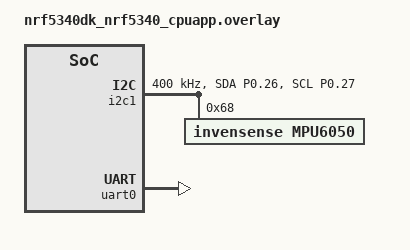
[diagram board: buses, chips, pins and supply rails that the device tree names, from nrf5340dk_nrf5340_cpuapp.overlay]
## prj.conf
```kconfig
# ==========================
# Core System Configuration
# ==========================
CONFIG_MAIN_STACK_SIZE=4096
CONFIG_HEAP_MEM_POOL_SIZE=4096
CONFIG_SYSTEM_WORKQUEUE_STACK_SIZE=2048
CONFIG_ASSERT=n

# ==========================
# System Clock (1 kHz tick rate for precise timing)
# ==========================
CONFIG_SYS_CLOCK_TICKS_PER_SEC=1000

# ==========================
# Power Management (Coin Cell Optimization)
# ==========================
CONFIG_PM=y
CONFIG_PM_DEVICE=y
CONFIG_PM_DEVICE_RUNTIME=y

# ==========================
# CPU Clock (64 MHz for power saving)
# ==========================
CONFIG_CLOCK_CONTROL=y
CONFIG_SOC_HFXO_CAP_INTERNAL=y

# ==========================
# Logging (ENABLED for debugging)
# ==========================
CONFIG_LOG=y
# CONFIG_LOG_MODE_IMMEDIATE is not set
# CONFIG_LOG_DEFAULT_LEVEL is not set

# ==========================
# Bluetooth Core
# ==========================
CONFIG_BT=y
CONFIG_BT_PERIPHERAL=y
CONFIG_BT_DEVICE_NAME="ISRO_AccelSensor"
CONFIG_BT_MAX_CONN=1
CONFIG_BT_DEVICE_APPEARANCE=0

# ==========================
# GATT Configuration
# ==========================
CONFIG_BT_GATT_DYNAMIC_DB=y
CONFIG_BT_ATT_PREPARE_COUNT=5
CONFIG_BT_GATT_NOTIFY_MULTIPLE=y

# ==========================
# BLE MTU and Buffer Sizes (for 1 kHz streaming)
# ==========================
# Batch packet = 1 + (17 * 14) = 239 bytes per 17ms
# ~59 packets/sec = ~113 kbps payload
CONFIG_BT_L2CAP_TX_MTU=247
CONFIG_BT_BUF_ACL_TX_SIZE=251
CONFIG_BT_BUF_ACL_RX_SIZE=251
CONFIG_BT_ATT_TX_COUNT=5
CONFIG_BT_L2CAP_TX_BUF_COUNT=5
CONFIG_BT_CONN_TX_MAX=5

# ==========================
# BLE Connection Parameters (Low Latency for 1 kHz)
# ==========================
# CI = 7.5-15 ms for real-time streaming
CONFIG_BT_GAP_AUTO_UPDATE_CONN_PARAMS=y
CONFIG_BT_PERIPHERAL_PREF_MIN_INT=6
CONFIG_BT_PERIPHERAL_PREF_MAX_INT=12
CONFIG_BT_PERIPHERAL_PREF_LATENCY=0
CONFIG_BT_PERIPHERAL_PREF_TIMEOUT=400

# ==========================
# BLE PHY and Data Length (2 Mbps for high throughput)
# ==========================
CONFIG_BT_USER_PHY_UPDATE=y
CONFIG_BT_USER_DATA_LEN_UPDATE=y
CONFIG_BT_CTLR_PHY_2M=y
CONFIG_BT_CTLR_DATA_LENGTH_MAX=251

# ==========================
# Settings (Persistent Storage)
# ==========================
CONFIG_SETTINGS=y
CONFIG_BT_SETTINGS=y
CONFIG_FLASH=y
CONFIG_FLASH_PAGE_LAYOUT=y
CONFIG_FLASH_MAP=y
CONFIG_NVS=y

# ==========================
# DK LEDs and Buttons (ENABLED for debugging)
# ==========================
CONFIG_DK_LIBRARY=n

# ==========================
# Console (ENABLED for debugging)
# ==========================
CONFIG_CONSOLE=y
CONFIG_UART_CONSOLE=y
CONFIG_SERIAL=y

# ==========================
# Float Support
# ==========================
CONFIG_FPU=y
CONFIG_NEWLIB_LIBC=y

# ==========================
# I2C and Sensor Drivers
# ==========================
CONFIG_I2C=y
CONFIG_SENSOR=y
CONFIG_MPU6050=y
CONFIG_MPU6050_TRIGGER_NONE=y

# ==========================
# System Workqueue Priority (for BLE)
# ==========================
CONFIG_SYSTEM_WORKQUEUE_PRIORITY=-1

# Disable all LEDs for power optimization
CONFIG_GPIO=n

# Disable UART logging for debugging
CONFIG_LOG=n
CONFIG_UART_CONSOLE=n
```

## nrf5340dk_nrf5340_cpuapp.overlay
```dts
/* nRF5340DK overlay for MPU6050 accelerometer */
/* Power-optimized configuration for coin cell operation */

/* Define pin control for I2C1 */
&pinctrl {
    i2c1_default: i2c1_default {
        group1 {
            psels = <NRF_PSEL(TWIM_SDA, 0, 26)>,
                    <NRF_PSEL(TWIM_SCL, 0, 27)>;
        };
    };

    i2c1_sleep: i2c1_sleep {
        group1 {
            psels = <NRF_PSEL(TWIM_SDA, 0, 26)>,
                    <NRF_PSEL(TWIM_SCL, 0, 27)>;
            low-power-enable;
        };
    };
};

/* Enable I2C1 with MPU6050 */
&i2c1 {
    compatible = "nordic,nrf-twim";
    status = "okay";
    clock-frequency = <I2C_BITRATE_FAST>;
    pinctrl-0 = <&i2c1_default>;
    pinctrl-1 = <&i2c1_sleep>;
    pinctrl-names = "default", "sleep";
    zephyr,pm-device-runtime-auto;

    mpu6050: mpu6050@68 {
        compatible = "invensense,mpu6050";
        reg = <0x68>;
        status = "okay";
    };
};

/* ================================== */
/* Peripheral configuration */
/* ================================== */

/* UART0 enabled for debugging */
&uart0 {
    status = "okay";
};

/* Disable SPI if not used */
&spi0 {
    status = "disabled";
};

&spi1 {
    status = "disabled";
};

&spi2 {
    status = "disabled";
};

&spi3 {
    status = "disabled";
};

/* Disable unused I2C */
&i2c0 {
    status = "disabled";
};

/* Disable PWM if not used */
&pwm0 {
    status = "disabled";
};

/* Disable ADC if not used */
&adc {
    status = "disabled";
};

/* Disable watchdog if not needed */
&wdt0 {
    status = "disabled";
};
```

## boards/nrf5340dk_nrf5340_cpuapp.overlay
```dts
/* nRF5340DK overlay for MPU6050 accelerometer */

/* Define pin control for I2C1 */
&pinctrl {
    i2c1_default: i2c1_default {
        group1 {
            psels = <NRF_PSEL(TWIM_SDA, 0, 26)>,
                    <NRF_PSEL(TWIM_SCL, 0, 27)>;
        };
    };

    i2c1_sleep: i2c1_sleep {
        group1 {
            psels = <NRF_PSEL(TWIM_SDA, 0, 26)>,
                    <NRF_PSEL(TWIM_SCL, 0, 27)>;
            low-power-enable;
        };
    };
};

/* Enable I2C1 with MPU6050 */
&i2c1 {
    compatible = "nordic,nrf-twim";
    status = "okay";
    clock-frequency = <I2C_BITRATE_FAST>;
    pinctrl-0 = <&i2c1_default>;
    pinctrl-1 = <&i2c1_sleep>;
    pinctrl-names = "default", "sleep";

    mpu6050: mpu6050@68 {
        compatible = "invensense,mpu6050";
        reg = <0x68>;
        status = "okay";
    };
};
```

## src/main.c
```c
#if defined(CONFIG_BT)
#include <zephyr/bluetooth/bluetooth.h>
#include <zephyr/bluetooth/conn.h>
#include <zephyr/bluetooth/gatt.h>
#endif
#if defined(CONFIG_SENSOR)
#include <zephyr/drivers/sensor.h>
#endif
#include <zephyr/kernel.h>
#include <zephyr/settings/settings.h>
#include <zephyr/pm/pm.h>
#include <zephyr/pm/device.h>
#include <zephyr/pm/device_runtime.h>

#include "accel_service.h"

/* Conditional logging - disabled in release builds */
#if defined(CONFIG_LOG)
#include <zephyr/logging/log.h>
LOG_MODULE_REGISTER(main, LOG_LEVEL_INF);
#define LOG_INF_SAFE(...) LOG_INF(__VA_ARGS__)
#define LOG_ERR_SAFE(...) LOG_ERR(__VA_ARGS__)
#define LOG_WRN_SAFE(...) LOG_WRN(__VA_ARGS__)
#else
#define LOG_INF_SAFE(...) do {} while(0)
#define LOG_ERR_SAFE(...) do {} while(0)
#define LOG_WRN_SAFE(...) do {} while(0)
#endif

/* Conditional LED support - disabled in release builds */
#if defined(CONFIG_DK_LIBRARY)
#include <dk_buttons_and_leds.h>
#define LED_ON(led)  dk_set_led_on(led)
#define LED_OFF(led) dk_set_led_off(led)
#define LED_SET(led, val) dk_set_led(led, val)
#define LEDS_INIT() dk_leds_init()
#else
#define LED_ON(led)  do {} while(0)
#define LED_OFF(led) do {} while(0)
#define LED_SET(led, val) do {} while(0)
#define LEDS_INIT() 0
#endif

/* MPU6050 device */
static const struct device *mpu;

/* Sensor Parameters */
#define SAMPLE_FREQ_HZ 1000.0f   /* 1 kHz high-rate sampling */
#define SAMPLE_PERIOD_US 1000    /* 1 ms between samples */
#define BATCH_PERIOD_MS 17       /* Send batch every 17 ms (17 samples) */
#define MPU_LSB_PER_G 2048.0f    /* ±16g range */

/* Statistics timer (only used in debug builds) */
#if defined(CONFIG_LOG)
static int64_t last_stats_time = 0;
#endif

/* BLE Connection Callbacks */
static void connected(struct bt_conn *conn, uint8_t err) {
  if (err) {
    LOG_ERR_SAFE("Connection failed (err %u)", err);
    return;
  }

  // LOG_INF_SAFE("Connected");
  // Turn off LED for power saving when connected
  LED_OFF(DK_LED1);

  accel_service_set_conn(conn);

#if defined(CONFIG_LOG)
  /* Reset stats timer on new connection */
  last_stats_time = k_uptime_get();
#endif
}

static void disconnected(struct bt_conn *conn, uint8_t reason) {
  // LOG_INF_SAFE("Disconnected (reason %u)", reason);
  LED_OFF(DK_LED1);

  accel_service_set_conn(NULL);
}

static void le_param_updated(struct bt_conn *conn, uint16_t interval,
                             uint16_t latency, uint16_t timeout) {
  LOG_INF_SAFE("Connection parameters updated: interval=%u, latency=%u, timeout=%u",
          interval, latency, timeout);
}

BT_CONN_CB_DEFINE(conn_callbacks) = {
    .connected = connected,
    .disconnected = disconnected,
    .le_param_updated = le_param_updated,
};

/* MPU6050 Sensor Thread with 1 kHz Sampling */
static void sensor_thread_fn(void *p1, void *p2, void *p3) {
  ARG_UNUSED(p1);
  ARG_UNUSED(p2);
  ARG_UNUSED(p3);

  uint32_t sample_counter = 0;
  struct sensor_value accel[3];

  /* Sample buffer for batching (17 samples = 17ms at 1kHz) */
  static struct accel_sample buffer[ACCEL_BATCH_SIZE];
  uint8_t buffer_idx = 0;

  /* Timing variables for precise 1 kHz */
  int64_t next_sample_time = k_uptime_get();
  
  // Debug/statistics code removed for power saving

  while (1) {
    /* Wait until next sample time (absolute timing) */
    next_sample_time += 1; /* 1 ms interval */
    int64_t now = k_uptime_get();
    if (next_sample_time > now) {
      k_sleep(K_TIMEOUT_ABS_MS(next_sample_time));
    }

    /* Fetch sensor data */
    int ret = sensor_sample_fetch(mpu);
    if (ret < 0) {
      LOG_WRN_SAFE("Sensor fetch failed: %d", ret);
      continue;
    }

    /* Get tri-axial acceleration */
    sensor_channel_get(mpu, SENSOR_CHAN_ACCEL_XYZ, accel);

    /* Convert from m/s² to g, then to raw counts */
    float ax_g = (float)sensor_value_to_double(&accel[0]) / 9.81f;
    float ay_g = (float)sensor_value_to_double(&accel[1]) / 9.81f;
    float az_g = (float)sensor_value_to_double(&accel[2]) / 9.81f;

    int16_t ax_raw = (int16_t)(ax_g * MPU_LSB_PER_G);
    int16_t ay_raw = (int16_t)(ay_g * MPU_LSB_PER_G);
    int16_t az_raw = (int16_t)(az_g * MPU_LSB_PER_G);

    sample_counter++;

    /* Store sample in buffer with individual timestamp */
    buffer[buffer_idx].sample_counter = sample_counter;
    buffer[buffer_idx].timestamp_ms = (uint32_t)k_uptime_get();
    buffer[buffer_idx].accel_x = ax_raw;
    buffer[buffer_idx].accel_y = ay_raw;
    buffer[buffer_idx].accel_z = az_raw;
    buffer_idx++;

    /* When batch is full (17 samples = 17ms at 1kHz), send it */
    if (buffer_idx >= ACCEL_BATCH_SIZE) {
      if (accel_service_data_notify_enabled()) {
        int err = accel_service_notify_batch(NULL, buffer, ACCEL_BATCH_SIZE);
#if defined(CONFIG_LOG)
        if (err == 0) {
          batches_sent++;
        } else if (err == -ENOMEM || err == -EAGAIN) {
          batches_dropped++;
        } else if (err != -ENOTCONN) {
          batches_dropped++;
        }
#else
        (void)err;
#endif
      } else {
#if defined(CONFIG_LOG)
        /* Not connected - buffer overflow, drop oldest */
        buffer_overflows++;
#endif
      }
      buffer_idx = 0; /* Reset buffer */
    }

#if defined(CONFIG_LOG)
    /* Log statistics every 5 seconds (debug only) */
    int64_t stats_now = k_uptime_get();
    if (stats_now - last_stats_time >= 5000) {
      float batch_rate =
          (float)batches_sent / ((stats_now - last_stats_time) / 1000.0f);
      float sample_rate = batch_rate * ACCEL_BATCH_SIZE;
      LOG_INF_SAFE("Stats: batches=%u, dropped=%u, overflow=%u", batches_sent,
              batches_dropped, buffer_overflows);
      LOG_INF_SAFE("  Rate: %.1f batches/s → %.1f samples/s", (double)batch_rate,
              (double)sample_rate);
      batches_sent = 0;
      batches_dropped = 0;
      buffer_overflows = 0;
      last_stats_time = stats_now;
    }
#endif

    /* Timing is handled at top of loop with absolute time */
  }
}

K_THREAD_DEFINE(sensor_thread, 2048, sensor_thread_fn, NULL, NULL, NULL, 7, 0,
                0);

/* Advertising Parameters: Connectable, Fast interval */
#define BT_LE_ADV_CONN_CUSTOM                                                  \
  BT_LE_ADV_PARAM(BT_LE_ADV_OPT_CONN, BT_GAP_ADV_FAST_INT_MIN_2,               \
                  BT_GAP_ADV_FAST_INT_MAX_2, NULL)

/* Advertising Data */
static const struct bt_data ad[] = {
    BT_DATA_BYTES(BT_DATA_FLAGS, (BT_LE_AD_GENERAL | BT_LE_AD_NO_BREDR)),
    BT_DATA(BT_DATA_NAME_COMPLETE, CONFIG_BT_DEVICE_NAME,
            sizeof(CONFIG_BT_DEVICE_NAME) - 1),
};

/* Scan Response Data with Service UUID */
static const struct bt_data sd[] = {
    BT_DATA_BYTES(BT_DATA_UUID128_ALL, ACCEL_SERVICE_UUID_VAL),
};

int main(void) {
  int err;

  // LOG_INF_SAFE("===========================================");
  // LOG_INF_SAFE("ISRO Phase-2 MPU6050 Accelerometer Service");
  // LOG_INF_SAFE("1 kHz Sampling - Power Optimized");
  // LOG_INF_SAFE("===========================================");

  /* Get MPU6050 device */
  mpu = DEVICE_DT_GET_ONE(invensense_mpu6050);
  if (!device_is_ready(mpu)) {
    LOG_ERR_SAFE("MPU6050 not ready!");
    return -ENODEV;
  }
  LOG_INF_SAFE("MPU6050 ready");

  /* Set sampling rate to 1000 Hz for high-rate sampling */
  struct sensor_value odr = {.val1 = 1000, .val2 = 0};
  err = sensor_attr_set(mpu, SENSOR_CHAN_ACCEL_XYZ,
                        SENSOR_ATTR_SAMPLING_FREQUENCY, &odr);
  if (err) {
    LOG_WRN_SAFE("Could not set ODR (err %d)", err);
  }

  /* Initialize LEDs (only if enabled) */
  err = LEDS_INIT();
  if (err) {
    // LOG_ERR_SAFE("LED init failed (err %d)", err);
  }

  /* Initialize Bluetooth */
  err = bt_enable(NULL);
  if (err) {
    LOG_ERR_SAFE("Bluetooth init failed (err %d)", err);
    return err;
  }
  LOG_INF_SAFE("Bluetooth initialized");

  /* Load settings */
  if (IS_ENABLED(CONFIG_SETTINGS)) {
    settings_load();
  }

  /* Initialize accelerometer service */
  err = accel_service_init();
  if (err) {
    LOG_ERR_SAFE("Accel service init failed (err %d)", err);
    return err;
  }

  /* Start advertising */
  err = bt_le_adv_start(BT_LE_ADV_CONN_CUSTOM, ad, ARRAY_SIZE(ad), sd,
                        ARRAY_SIZE(sd));
  if (err) {
    LOG_ERR_SAFE("Advertising failed to start (err %d)", err);
    return err;
  }
  LOG_INF_SAFE("Advertising started as '%s'", CONFIG_BT_DEVICE_NAME);

  /* Main loop - sleep for power efficiency */
  /* Sensor thread handles data collection */
  /* Power management will put CPU to sleep between wakeups */
  while (1) {
    /* Sleep indefinitely - sensor thread and BLE stack handle everything */
    /* PM subsystem will enter low power state automatically */
    k_sleep(K_FOREVER);
  }

  return 0;
}
```

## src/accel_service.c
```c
#include <string.h>
#if defined(CONFIG_BT)
#include <zephyr/bluetooth/bluetooth.h>
#include <zephyr/bluetooth/gatt.h>
#include <zephyr/bluetooth/uuid.h>
#endif
#include <zephyr/kernel.h>

#include "accel_service.h"

/* Conditional logging - disabled in release builds */
#define LOG_INF_SAFE(...) do {} while(0)

/* Service configuration */
#define SAMPLING_RATE_HZ 1000

/* State variables */
static bool data_notify_enabled = false;
static bool timestamp_notify_enabled = false;
static struct bt_conn *current_conn = NULL;

/* Static data for characteristics */
static uint16_t sampling_rate = SAMPLING_RATE_HZ;
static uint32_t current_timestamp = 0;

static struct sensor_metadata sensor_meta = {
    .sensor_name = "ISRO_Phase2_Accel", .range_g = 16, .unit = "g"};

/* CCC changed callback for acceleration data */
static void accel_data_ccc_changed(const struct bt_gatt_attr *attr,
                                   uint16_t value) {
  // LOG_INF_SAFE("CCC write received: value=0x%04x (NOTIFY=0x%04x)", value,
  //         BT_GATT_CCC_NOTIFY);
  data_notify_enabled = (value == BT_GATT_CCC_NOTIFY);
  // LOG_INF_SAFE("Acceleration Data notifications %s",
  //         data_notify_enabled ? "ENABLED" : "DISABLED");
}

/* CCC changed callback for timestamp */
static void timestamp_ccc_changed(const struct bt_gatt_attr *attr,
                                  uint16_t value) {
  timestamp_notify_enabled = (value == BT_GATT_CCC_NOTIFY);
  // LOG_INF_SAFE("Timestamp notifications %s",
  //         timestamp_notify_enabled ? "enabled" : "disabled");
}

/* Read callback for timestamp characteristic */
static ssize_t read_timestamp(struct bt_conn *conn,
                              const struct bt_gatt_attr *attr, void *buf,
                              uint16_t len, uint16_t offset) {
  current_timestamp = (uint32_t)k_uptime_get();
  return bt_gatt_attr_read(conn, attr, buf, len, offset, &current_timestamp,
                           sizeof(current_timestamp));
}

/* Read callback for sampling rate characteristic */
static ssize_t read_sampling_rate(struct bt_conn *conn,
                                  const struct bt_gatt_attr *attr, void *buf,
                                  uint16_t len, uint16_t offset) {
  return bt_gatt_attr_read(conn, attr, buf, len, offset, &sampling_rate,
                           sizeof(sampling_rate));
}

/* Read callback for sensor metadata characteristic */
static ssize_t read_sensor_meta(struct bt_conn *conn,
                                const struct bt_gatt_attr *attr, void *buf,
                                uint16_t len, uint16_t offset) {
  return bt_gatt_attr_read(conn, attr, buf, len, offset, &sensor_meta,
                           sizeof(sensor_meta));
}

/* GATT Service Definition */
BT_GATT_SERVICE_DEFINE(
    accel_svc,
    /* Primary Service Declaration */
    BT_GATT_PRIMARY_SERVICE(ACCEL_SERVICE_UUID),

    /* Acceleration Data Characteristic (NOTIFY only) */
    BT_GATT_CHARACTERISTIC(ACCEL_DATA_CHAR_UUID, BT_GATT_CHRC_NOTIFY,
                           BT_GATT_PERM_NONE, NULL, NULL, NULL),
    BT_GATT_CCC(accel_data_ccc_changed, BT_GATT_PERM_READ | BT_GATT_PERM_WRITE),

    /* Timestamp Characteristic (READ | NOTIFY) */
    BT_GATT_CHARACTERISTIC(TIMESTAMP_CHAR_UUID,
                           BT_GATT_CHRC_READ | BT_GATT_CHRC_NOTIFY,
                           BT_GATT_PERM_READ, read_timestamp, NULL, NULL),
    BT_GATT_CCC(timestamp_ccc_changed, BT_GATT_PERM_READ | BT_GATT_PERM_WRITE),

    /* Sampling Rate Characteristic (READ only) */
    BT_GATT_CHARACTERISTIC(SAMPLE_RATE_CHAR_UUID, BT_GATT_CHRC_READ,
                           BT_GATT_PERM_READ, read_sampling_rate, NULL, NULL),

    /* Sensor Metadata Characteristic (READ only) */
    BT_GATT_CHARACTERISTIC(SENSOR_META_CHAR_UUID, BT_GATT_CHRC_READ,
                           BT_GATT_PERM_READ, read_sensor_meta, NULL, NULL), );

int accel_service_init(void) {
  // LOG_INF_SAFE("Accelerometer GATT Service initialized");
  // LOG_INF_SAFE("  Sampling Rate: %u Hz", SAMPLING_RATE_HZ);
  // LOG_INF_SAFE("  Sensor: %s, Range: +/-%d %s", sensor_meta.sensor_name,
  //         sensor_meta.range_g, sensor_meta.unit);
  return 0;
}

/* Static batch packet to avoid malloc overhead */
static struct accel_batch_packet tx_batch;

int accel_service_notify_batch(struct bt_conn *conn, const struct accel_sample *samples, size_t count) {
  if (!data_notify_enabled) {
    return -ENOTCONN;
  }

  struct bt_conn *target = conn ? conn : current_conn;
  if (!target) {
    return -ENOTCONN;
  }

  /* Copy data to static buffer */
  tx_batch.batch_count = count;
  memcpy(tx_batch.samples, samples, count * sizeof(struct accel_sample));
  
  size_t payload_size = 1 + (count * sizeof(struct accel_sample));

  /* Send directly - bt_gatt_notify handles buffering internally */
  return bt_gatt_notify(target, &accel_svc.attrs[1], &tx_batch, payload_size);
}

int accel_service_notify_timestamp(struct bt_conn *conn, uint32_t uptime_ms) {
  if (!timestamp_notify_enabled) {
    return -ENOTCONN;
  }

  struct bt_conn *target = conn ? conn : current_conn;
  if (!target) {
    return -ENOTCONN;
  }

  return bt_gatt_notify(target, &accel_svc.attrs[4], &uptime_ms,
                        sizeof(uptime_ms));
}

bool accel_service_data_notify_enabled(void) { return data_notify_enabled; }

void accel_service_set_conn(struct bt_conn *conn) {
  if (current_conn) {
    bt_conn_unref(current_conn);
  }
  current_conn = conn ? bt_conn_ref(conn) : NULL;
}
```

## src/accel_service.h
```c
#ifndef ACCEL_SERVICE_H_
#define ACCEL_SERVICE_H_

#include <zephyr/bluetooth/conn.h>
#include <zephyr/types.h>

#ifdef __cplusplus
extern "C" {
#endif

/* Custom Service UUID: 12340000-1234-5678-9ABC-DEF012345678 */
#define ACCEL_SERVICE_UUID_VAL                                                 \
  BT_UUID_128_ENCODE(0x12340000, 0x1234, 0x5678, 0x9ABC, 0xDEF012345678)

/* Acceleration Data Characteristic UUID: 12340001-... (NOTIFY) */
#define ACCEL_DATA_CHAR_UUID_VAL                                               \
  BT_UUID_128_ENCODE(0x12340001, 0x1234, 0x5678, 0x9ABC, 0xDEF012345678)

/* Timestamp Characteristic UUID: 12340002-... (READ | NOTIFY) */
#define TIMESTAMP_CHAR_UUID_VAL                                                \
  BT_UUID_128_ENCODE(0x12340002, 0x1234, 0x5678, 0x9ABC, 0xDEF012345678)

/* Sampling Rate Characteristic UUID: 12340003-... (READ) */
#define SAMPLE_RATE_CHAR_UUID_VAL                                              \
  BT_UUID_128_ENCODE(0x12340003, 0x1234, 0x5678, 0x9ABC, 0xDEF012345678)

/* Sensor Metadata (TEDS) Characteristic UUID: 12340004-... (READ) */
#define SENSOR_META_CHAR_UUID_VAL                                              \
  BT_UUID_128_ENCODE(0x12340004, 0x1234, 0x5678, 0x9ABC, 0xDEF012345678)

#define ACCEL_SERVICE_UUID BT_UUID_DECLARE_128(ACCEL_SERVICE_UUID_VAL)
#define ACCEL_DATA_CHAR_UUID BT_UUID_DECLARE_128(ACCEL_DATA_CHAR_UUID_VAL)
#define TIMESTAMP_CHAR_UUID BT_UUID_DECLARE_128(TIMESTAMP_CHAR_UUID_VAL)
#define SAMPLE_RATE_CHAR_UUID BT_UUID_DECLARE_128(SAMPLE_RATE_CHAR_UUID_VAL)
#define SENSOR_META_CHAR_UUID BT_UUID_DECLARE_128(SENSOR_META_CHAR_UUID_VAL)

/* Single acceleration sample (14 bytes) */
struct accel_sample {
  uint32_t sample_counter;
  uint32_t timestamp_ms; /* device uptime in ms for E2E latency */
  int16_t accel_x;
  int16_t accel_y;
  int16_t accel_z;
} __packed;

/* Batched packet configuration */
#define ACCEL_BATCH_SIZE 17 /* 17 samples per BLE notification */
/* Batch packet: 1 byte count + 17 * 14 bytes = 239 bytes (fits in MTU 247) */
/* At 1 kHz sampling: packet every 17 ms → ~59 packets/second */
/* Data rate: 239 * 59 = 14.1 kB/s = ~113 kbps */

/* Batched acceleration packet structure */
struct accel_batch_packet {
  uint8_t batch_count; /* Number of valid samples in this batch */
  struct accel_sample samples[ACCEL_BATCH_SIZE];
} __packed;

/* Legacy single-sample alias for compatibility */
#define accel_data_packet accel_sample

/* Sensor metadata structure (TEDS-like) */
struct sensor_metadata {
  char sensor_name[24];
  int16_t range_g;
  char unit[8];
} __packed;

/**
 * @brief Initialize the Accelerometer GATT Service
 * @return 0 on success, negative errno on failure
 */
int accel_service_init(void);

/**
 * @brief Send batched acceleration data notification
 * @param conn Connection object (NULL for all connections)
 * @param samples Array of acceleration samples
 * @param count Number of samples in the batch (1 to ACCEL_BATCH_SIZE)
 * @return 0 on success, negative errno on failure
 */
int accel_service_notify_batch(struct bt_conn *conn,
                               const struct accel_sample *samples,
                               size_t count);

/**
 * @brief Send timestamp notification
 * @param conn Connection object (NULL for all connections)
 * @param uptime_ms Current uptime in milliseconds
 * @return 0 on success, negative errno on failure
 */
int accel_service_notify_timestamp(struct bt_conn *conn, uint32_t uptime_ms);

/**
 * @brief Check if notifications are enabled for acceleration data
 * @return true if enabled, false otherwise
 */
bool accel_service_data_notify_enabled(void);

/**
 * @brief Set the current connection reference
 * @param conn Connection object
 */
void accel_service_set_conn(struct bt_conn *conn);

#ifdef __cplusplus
}
#endif

#endif /* ACCEL_SERVICE_H_ */
```
